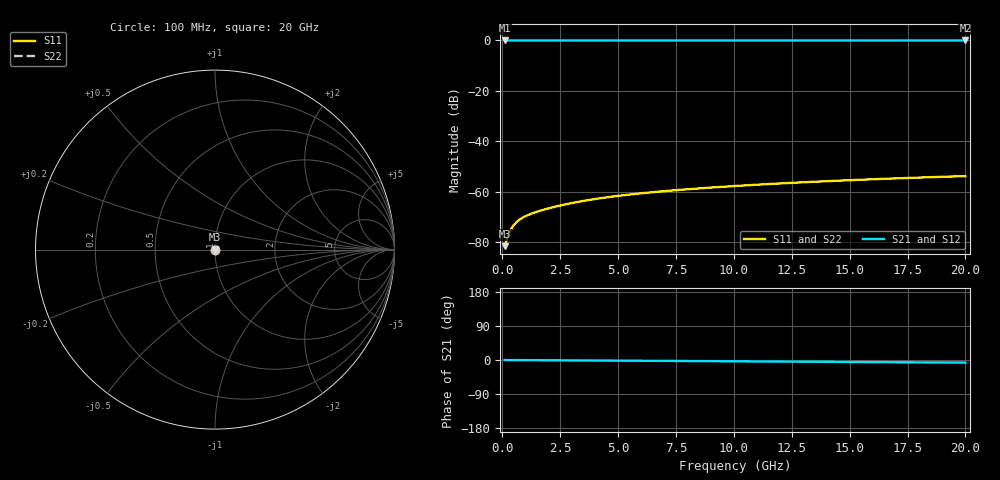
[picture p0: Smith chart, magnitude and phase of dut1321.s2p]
! Touchstone file exported from HFSS 2026.1.0
!  File:  C:/ffzhzh/LocalFiles/Ansys_Project_Files/temp_train_TSV_1321_1783195176_43440.aedt
!  Generated:  04:00:59 AM Jul  5, 2026
!  Design:  TSV
!  Project:  temp_train_TSV_1321_1783195176_43440
! Variables:
!  h_bsmrdl = 2um
!  h_ox = 20um
!  h_rdl = 5um
!  h_sub = 65.05um
!  h_tmrdl = 5um
!  h_tsv = 65.05um
!  h_via = 3um
!  l_bsmrdl = 300um
!  l_sub = 427.16um
!  l_tmrdl = 200um
!  m_sub = 200um
!  pitch = 54.57um
!  r_tsv = 13.58um
!  s_tmrdl = 10um
!  w_bsmrdl = 18um
!  w_sub = 500um
!  w_tmrdl = 12um
!  x_tsv_center1 = 206um
!  x_tsv_center2 = 524um
!  x_tsv_center3 = 736um
!  x_tsv_center4 = 1054um
!  x_tsv_center5 = 1266um
!  x_tsv_center6 = 1584um
# GHz S MA R 50.000000
! Terminal data exported
! Port[1] = TSV1_1_T1
! Port[2] = TSV1_1_T2
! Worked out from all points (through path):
!   200 points, 100 MHz to 20 GHz, reference 50 ohm
!   highest |S21| = 0.00 dB at 100 MHz (marker M1); lowest = 0.0 dB at 20 GHz (marker M2)
!   lowest |S11| = -81.7 dB at 100 MHz (marker M3), VSWR 1.00, Z = 50 + j0.0043 ohm
!   |S11| at or under -10 dB: start of sweep to end of sweep
!   |S22| runs from -81.7 to -53.9 dB; largest |S21 - S12| = 3.3e-15
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0.1  8.23e-05 31.5  0.9999 -0.0  0.9999 -0.0  8.23e-05 31.5
! Gamma 0 0 0 0
! Port Impedance 50 0 50 0
0.2  0.0001161 45.6  0.9999 -0.1  0.9999 -0.1  0.0001161 45.6
0.3  0.0001527 50.5  0.9999 -0.1  0.9999 -0.1  0.0001527 50.5
0.4  0.000187 51.8  0.9999 -0.1  0.9999 -0.1  0.000187 51.8
0.5  0.0002175 51.8  0.9999 -0.2  0.9999 -0.2  0.0002175 51.8
0.6  0.0002442 51.4  0.9998 -0.2  0.9998 -0.2  0.0002442 51.4
0.7  0.0002677 51.0  0.9998 -0.2  0.9998 -0.2  0.0002676 51.0
0.9  0.0003072 50.3  0.9998 -0.3  0.9998 -0.3  0.0003071 50.3
1.1  0.0003403 50.1  0.9998 -0.4  0.9998 -0.4  0.0003403 50.1
1.3  0.0003701 50.4  0.9998 -0.5  0.9998 -0.5  0.00037 50.4
1.9  0.0004511 52.0  0.9997 -0.7  0.9997 -0.7  0.0004511 52.0
2.7  0.0005537 54.0  0.9997 -0.9  0.9997 -0.9  0.0005537 54.0
3.5  0.0006518 55.2  0.9996 -1.2  0.9996 -1.2  0.0006518 55.2
4.2  0.000733 55.9  0.9996 -1.5  0.9996 -1.5  0.000733 55.9
5  0.0008205 56.4  0.9996 -1.7  0.9996 -1.7  0.0008205 56.4
5.9  0.000913 56.8  0.9995 -2.0  0.9995 -2.0  0.000913 56.8
6.8  0.001 57.1  0.9995 -2.4  0.9995 -2.4  0.001 57.0
8.3  0.001138 57.5  0.9994 -2.9  0.9994 -2.9  0.001138 57.5
10.1  0.001293 57.8  0.9994 -3.5  0.9994 -3.5  0.001293 57.8
13.4  0.00156 58.1  0.9993 -4.6  0.9993 -4.6  0.00156 58.1
16.7  0.001805 58.0  0.9992 -5.8  0.9992 -5.8  0.001805 57.9
20  0.002027 57.5  0.9991 -6.9  0.9991 -6.9  0.002027 57.5
